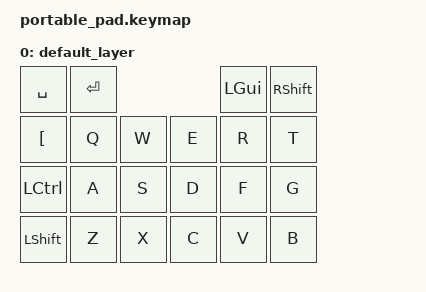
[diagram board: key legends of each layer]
#include <behaviors.dtsi>
#include <dt-bindings/zmk/keys.h>
#include <dt-bindings/zmk/bt.h>
#include <dt-bindings/zmk/outputs.h>

#define DEFAULT 0
#define MAC     1
#define LOWER   2
#define RAISE   3
#define ADJUST  4

#define HYPER(key) LS(LC(LA(LG(key))))
#define MEH(key)   LS(LC(LA(key)))

&sl {
    release-after-ms = <5000>;
};

&kscan0 {
    debounce-press-ms = <30>;
    debounce-release-ms = <30>;
};

/ {
    keymap {
        compatible = "zmk,keymap";

        default_layer {
            bindings = <
&kp SPACE &kp ENTER                     &kp LGUI  &kp RSHFT
&kp LBKT   &kp Q     &kp W    &kp E     &kp R     &kp T
&kp LCTRL  &kp A     &kp S    &kp D     &kp F     &kp G
&kp LSHFT  &kp Z     &kp X    &kp C     &kp V     &kp B
            >;
        };
    };
};
